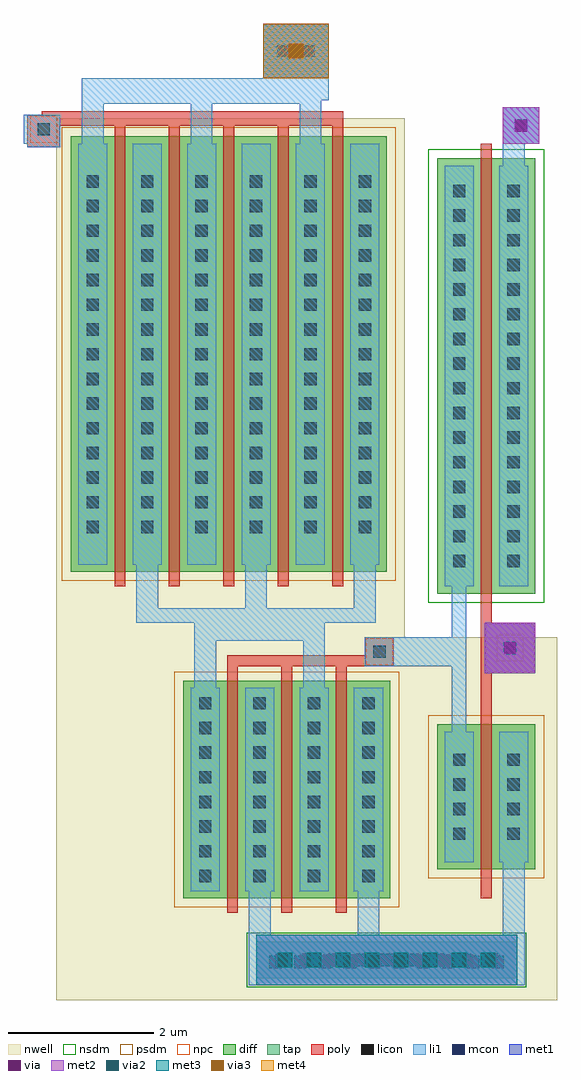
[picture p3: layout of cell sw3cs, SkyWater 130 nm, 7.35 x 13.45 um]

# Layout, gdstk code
import gdstk
lib = gdstk.Library(unit=1e-6, precision=1e-09)
def R(c, l, rs):  # rectangles x0, y0, x1, y1
    for r in rs: c.add(gdstk.rectangle(r[:2], r[2:], *l))
def A(c, l, x, y, w, h, nx, ny, dx, dy):  # array of equal rectangles
    R(c, l, [(x+i*dx, y+j*dy, x+i*dx+w, y+j*dy+h) for i in range(nx) for j in range(ny)])
nwell = (64, 20)
diff = (65, 20)
tap = (65, 44)
poly = (66, 20)
licon = (66, 44)
li1 = (67, 20)
mcon = (67, 44)
met1 = (68, 20)
via = (68, 44)
met2 = (69, 20)
via2 = (69, 44)
met3 = (70, 20)
via3 = (70, 44)
met4 = (71, 20)
nsdm = (93, 44)
psdm = (94, 20)
npc = (95, 20)

sw3cs = lib.new_cell('sw3cs')
R(sw3cs, nwell, [(-3.65,-31.4,3.25,-26.4), (-3.65,-26.4,1.15,-19.25)])
R(sw3cs, diff, [(-1.9,-30,0.95,-27), (1.6,-29.6,2.95,-27.6), (1.6,-25.8,2.95,-19.8), (-3.45,-25.5,0.9,-19.5)])
R(sw3cs, tap, [(-0.9,-31.1,2.7,-30.6)])
A(sw3cs, poly, -1.3, -30.2, 0.15, 3.4, 3, 1, 0.75, 0)
A(sw3cs, poly, -2.85, -25.7, 0.15, 6.35, 5, 1, 0.75, 0)
R(sw3cs, poly, [(2.2,-30,2.35,-26.9), (2.2,-26.9,2.95,-26.2), (-1.3,-26.8,1,-26.65), (0.6,-26.65,1,-26.4), (2.2,-26.2,2.35,-19.6), (-4.05,-19.65,-3.6,-19.35), (-4.05,-19.35,0.3,-19.2), (-3.85,-19.2,0.3,-19.15)])
A(sw3cs, licon, -0.715, -30.96, 0.17, 0.17, 10, 1, 0.34, 0)
A(sw3cs, licon, -1.685, -29.775, 0.17, 0.17, 4, 8, 0.75, 0.34)
A(sw3cs, licon, 1.815, -29.195, 0.17, 0.17, 1, 4, 0, 0.34)
A(sw3cs, licon, 2.565, -29.195, 0.17, 0.17, 1, 4, 0, 0.34)
A(sw3cs, licon, 1.815, -25.435, 0.17, 0.17, 1, 16, 0, 0.34)
A(sw3cs, licon, 2.565, -25.435, 0.17, 0.17, 1, 16, 0, 0.34)
A(sw3cs, licon, -3.235, -24.965, 0.17, 0.17, 6, 15, 0.75, 0.34)
R(sw3cs, licon, [(0.715,-26.685,0.885,-26.515), (2.515,-26.635,2.685,-26.465), (-3.91,-19.485,-3.74,-19.315)])
A(sw3cs, li1, -1.8, -29.9, 0.4, 2.8, 4, 1, 0.75, 0)
A(sw3cs, li1, -2.55, -26, 0.3, 0.6, 3, 1, 1.5, 0)
A(sw3cs, li1, -3.35, -25.4, 0.4, 5.8, 6, 1, 0.75, 0)
A(sw3cs, li1, -3.3, -19.6, 0.3, 0.55, 3, 1, 1.5, 0)
R(sw3cs, li1, [(-1,-31.2,2.8,-30.5), (-1,-30.5,-0.7,-29.9), (0.5,-30.5,0.8,-29.9), (2.5,-30.5,2.8,-29.5), (1.7,-29.5,2.1,-27.7), (2.45,-29.5,2.85,-27.7), (1.8,-27.7,2,-26.8), (-1.75,-27.1,-1.45,-26.45), (-0.25,-27.1,0.05,-26.45), (2.25,-26.9,2.95,-26.2), (0.6,-26.8,2,-26.4), (-1.75,-26.45,0.05,-26.2), (1.8,-26.4,2,-25.7), (-2.55,-26.2,0.75,-26), (1.7,-25.7,2.1,-19.9), (2.45,-25.7,2.85,-19.9), (2.5,-19.9,2.8,-19.6), (-4.05,-19.65,-3.6,-19.6), (-4.1,-19.6,-3.6,-19.2), (2.5,-19.6,3,-19.1), (-3.3,-19.05,0,-19), (-3.3,-19,0.1,-18.7), (-0.8,-18.7,0.1,-17.95)])
A(sw3cs, mcon, -0.625, -30.935, 0.17, 0.17, 9, 1, 0.36, 0)
R(sw3cs, mcon, [(2.515,-26.635,2.685,-26.465), (2.665,-19.435,2.835,-19.265), (-0.615,-18.41,-0.445,-18.24), (-0.255,-18.41,-0.085,-18.24)])
R(sw3cs, met1, [(-0.9,-31.2,2.7,-30.5), (2.25,-26.9,2.95,-26.2), (2.5,-19.6,3,-19.1), (-0.8,-18.7,0.1,-17.95)])
A(sw3cs, via, -0.615, -30.925, 0.15, 0.15, 10, 1, 0.32, 0)
R(sw3cs, via, [(2.525,-26.625,2.675,-26.475), (2.675,-19.425,2.825,-19.275), (-0.585,-18.4,-0.435,-18.25), (-0.265,-18.4,-0.115,-18.25)])
R(sw3cs, met2, [(-0.9,-31.2,2.7,-30.5), (2.25,-26.9,2.95,-26.2), (2.5,-19.6,3,-19.1), (-0.8,-18.7,0.1,-17.95)])
A(sw3cs, via2, -0.6, -30.95, 0.2, 0.2, 8, 1, 0.4, 0)
R(sw3cs, via2, [(-0.45,-18.425,-0.25,-18.225)])
R(sw3cs, met3, [(-0.9,-31.2,2.7,-30.5), (-0.8,-18.7,0.1,-17.95)])
R(sw3cs, via3, [(-0.45,-18.425,-0.25,-18.225)])
R(sw3cs, met4, [(-0.8,-18.7,0.1,-17.95)])
R(sw3cs, nsdm, [(-1.025,-31.225,2.825,-30.475), (1.475,-25.925,3.075,-19.675)])
R(sw3cs, psdm, [(-2.025,-30.125,1.075,-26.875), (1.475,-29.725,3.075,-27.475), (-3.575,-25.625,1.025,-19.375)])
R(sw3cs, npc, [(0.615,-26.785,0.985,-26.415), (2.415,-26.735,2.785,-26.365), (-4.01,-19.585,-3.64,-19.215)])

lib.write_gds('sw3cs.gds')
